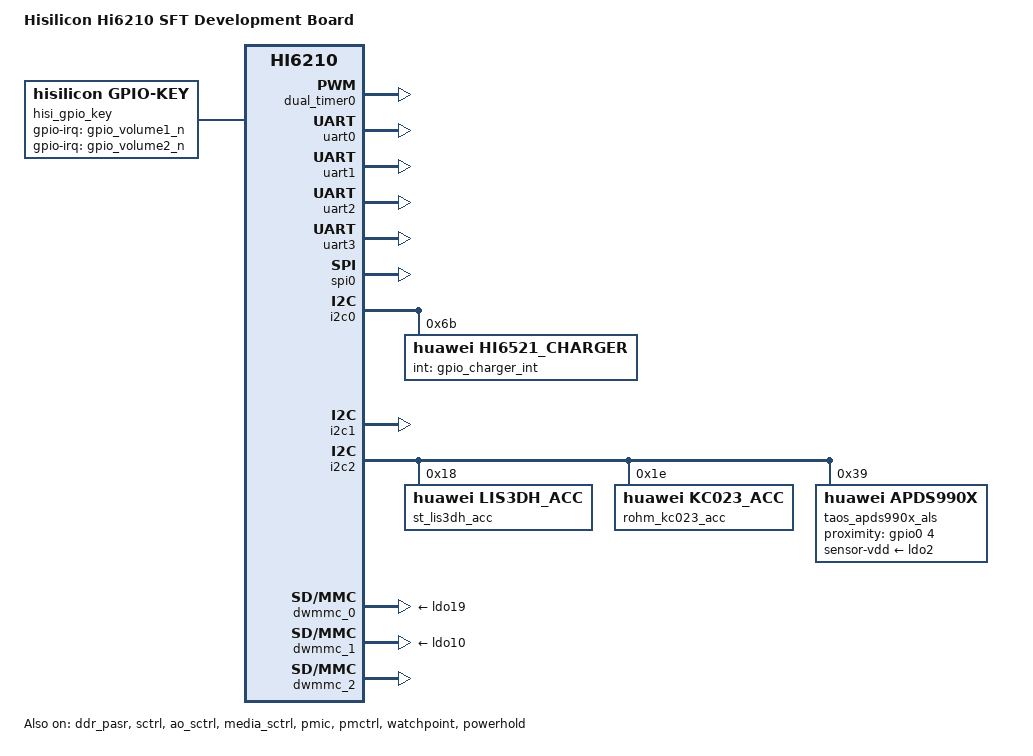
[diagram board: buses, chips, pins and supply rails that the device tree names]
/*
 *  Copyright (C) 2014 Hisilicon Ltd.
 *  Author: Bintian Wang <bintian.wang@huawei.com>
 *
 *  This program is free software; you can redistribute it and/or modify
 *  it under the terms of the GNU General Public License version 2 as
 *  publishhed by the Free Software Foundation.
 */

/dts-v1/;
/include/ "skeleton.dtsi"
/include/ "hi6210sft_udp_ddr2_pin.dtsi"
/include/ "hi6210sft_udp_ddr2_charger.dtsi"
/include/ "hi6210sft_udp_ddr2_pmic.dtsi"
/include/ "hi6210sft_udp_ddr2_gpio_logic.dtsi"
/include/ "./udp_ddr2/hi6210_gpio.dtsi"
/include/ "./udp_ddr2/hi6210_pinctrl.dtsi"
/include/ "./udp_ddr2/hi6210.dtsi"
/include/ "./udp_ddr2/hi6210_clk.dtsi"
/include/ "./udp_ddr2/hi6552_pmuclk.dtsi"
/include/ "./udp_ddr2/hi6552_pmic_mntn.dtsi"
/include/ "./udp_ddr2/hi6xxx_mtcmos.dtsi"
/include/ "./udp_ddr2/hi6210_memory.dtsi"
/include/ "./udp_ddr2/bq_bci_battery.dtsi"
/include/ "./udp_ddr2/hi6210_touchscreen.dtsi"
/include/ "./udp_ddr2/hi6210_vcodec.dtsi"
/include/ "./udp_ddr2/hi6210_camera.dtsi"
/include/ "./udp_ddr2/hi6210_videoconfig.dtsi"
/include/ "./udp_ddr2/hi6210_mali450.dtsi"
/include/ "./udp_ddr2/hi6210_fb.dtsi"
/include/ "./udp_ddr2/hi6210_mipi_tm_nt35521.dtsi"
/include/ "./udp_ddr2/hi6210_mipi_boe_nt35521.dtsi" 
/include/ "./udp_ddr2/hi6210_mipi_cmi_nt35521.dtsi" 
/include/ "./udp_ddr2/hi6210_mipi_yassy_hx8394.dtsi"
/*/include/ "./udp_ddr2/hi6210_mipi_jdi_otm1902b.dtsi"*/

/* /include/ "./udp_ddr2/hi6210_otm1282b.dtsi" */
/include/ "./udp_ddr2/test_hi6xxx_regulator.dtsi"
/include/ "./udp_ddr2/hi6210_tsensor.dtsi"
/include/ "./udp_ddr2/hi6xxx_hkadc.dtsi"
/include/ "./udp_ddr2/hi6210_audio.dtsi"
/include/ "./udp_ddr2/hi6210_clk_stub.dtsi"
/include/ "./udp_ddr2/hi6xxx_ddr2.dtsi"
/include/ "./udp_ddr2/hisi_hi1101.dtsi"
/include/ "./udp_ddr2/hi6210_hall.dtsi"

/include/ "./udp_ddr2/hisi_vibrator.dtsi"
/include/ "./udp_ddr2/huawei_bluetooth.dtsi"
/include/ "./udp_ddr2/huawei_gps.dtsi"
/include/ "./udp_ddr2/huawei_wifi.dtsi"
/include/ "./udp_ddr2/hisi_hi6xxx_noc.dtsi"
/ {
	model = "Hisilicon Hi6210 SFT Development Board";
	compatible = "hisilicon,hi6210";
	hisi,boardid = <0 0 1 3>;
	hisi,boardname = "hi6210sft_udp_ddr2";
	mntn,acpu-scaddr = <0xf65a0000 0x800>;
	power,busdfs = <0x1>;
	power,localtimer = <0x1>;
	clk,support_odd_div = <0>;
	#address-cells = <1>;
	#size-cells = <1>;
	interrupt-parent = <&gic>;
	
	aliases{
	    mshc0 = &dwmmc_0;
	    mshc1 = &dwmmc_1;
	    mshc2 = &dwmmc_2;
	};

	chosen {};

	clusters {
		#address-cells = <1>;
		#size-cells = <0>;

		cluster0: cluster@0 { /*A7 cluster*/
			reg = <0>;
			cores {
				#address-cells = <1>;
				#size-cells = <0>;

				core0: core@0 {
					reg = <0>;
				};

				core1: core@1 {
					reg = <1>;
				};

				core2: core@2 {
					reg = <2>;
				};

				core3: core@3 {
					reg = <3>;
				};

			};
		};

	};

	cpus {
		#address-cells = <1>;
		#size-cells = <0>;

		cpu@0 {
			compatible = "arm,cortex-a7";
			device_type = "cpu";
			reg = <0>;
			next-level-cache = <&l2>;			
			cluster = <&cluster0>;
			clock-frequency = <0>;
			clock-latency = <0>;
			operating-points = <
				/* kHz */
				208000  0
				441000  0
				690000  0
				900000  0
			>;
			
		};

		cpu@1 {
			compatible = "arm,cortex-a7";
			device_type = "cpu";
			reg = <1>;
			next-level-cache = <&l2>;
			cluster = <&cluster0>;
			clock-frequency = <0>;
			clock-latency = <0>;
		};

		cpu@2 {
			compatible = "arm,cortex-a7";
			device_type = "cpu";
			reg = <2>;
			next-level-cache = <&l2>;
			cluster = <&cluster0>;
			clock-frequency = <0>;
			clock-latency = <0>;
		};

		cpu@3 {
			compatible = "arm,cortex-a7";
			device_type = "cpu";
			reg = <3>;
			next-level-cache = <&l2>;
			cluster = <&cluster0>;
			clock-frequency = <0>;
			clock-latency = <0>;
		};
	};

	cpuidle {
	        compatible = "arm,generic";
	        status = "ok";
        };
	
	/* cpufreq  device */
	cpufreq: cpufreq-bL {
		compatible = "hi6xxx,generic-smp-cpufreq";
	};
		
    /* ddr pasr */
    ddr_pasr: ddr_pasr@f7128000 {
        compatible = "hisilicon,ddr_pasr";
        reg = <0xf7128000 0x1000>;
        status = "ok";
    };  

	sctrl: sctrl {
		compatible = "hisilicon,sctrl";
		reg = <0xf7030000 0x2000>;
		status = "ok";
	};

	ao_sctrl: ao_sctrl {
		compatible = "hisilicon,aosctrl";
		reg = <0xf7800000 0x2000>;
		status = "ok";
	};
	
	media_sctrl: media_sctrl {
		compatible = "hisilicon,media_sctrl";
		reg = <0xf4410000 0x1000>;
		status = "ok";
	};
	pmic: pmic@F8000000 {
                compatible = "hisilicon,hi6552-pmic-driver";
                status = "ok";
                ponkey:ponkey@b1{
                        compatible = "hisilicon,hisi-powerkey";
                        interrupt-parent = <&pmic>;
                        interrupts = <6 0>, <5 0>, <4 0>;
                        interrupt-names = "down", "up", "hold 1s";
                };
                coul: coul@1 {
                        compatible = "hisilicon,hi6xxx-coul";
                        interrupt-parent = <&pmic>;
                        interrupts = <24 0>, <25 0>, <26 0>, <27 0>;
                        interrupt-names = "cl_int_i", "cl_out_i", "cl_in_i", "vbat_int_i";
						battery_product_index = <0>;			
						status = "ok";
                };
                rtc: rtc@1 {
                        compatible = "hisilicon,hi6552-pmu-rtc";
                        interrupt-parent = <&pmic>;
                        interrupts = <20 0>;
                        interrupt-names = "hi6552_pmu_rtc";
						board_id = <1>;
                };
                usbvbus:usbvbus@b2{
			compatible = "hisilicon,hi6xxx-usbvbus";
			interrupt-parent = <&pmic>;
			interrupts = <9 0>, <8 0>;
			interrupt-names = "connect", "disconnect";
		};
	};

	pmctrl: pmctrl {
		compatible = "hisilicon,pmctrl";
		reg = <0xF7032000 0x1000>;
		status = "ok";
	};
	amba {
		dual_timer0: timer@f8008000 {
			status = "ok";
		};

		dma0: dma@F7370000 {
			status = "ok";
		};

		uart0: uart@f8015000 {	/* console */
			pinctrl-names = "default", "idle";
			pinctrl-0 = <&UART0_RXD_pmx_func
			             &UART0_RXD_cfg_func
				     &UART0_TXD_pmx_func
				     &UART0_TXD_cfg_func>;
			pinctrl-1 = <&UART0_RXD_pmx_idle
			             &UART0_RXD_cfg_idle
				     &UART0_TXD_pmx_idle
			             &UART0_TXD_cfg_idle>;
			status = "ok";
		};
		uart1: uart@f7111000 {
			pinctrl-names = "default", "idle";
			pinctrl-0 = <&UART1_CTS_N_pmx_func
			             &UART1_CTS_N_cfg_func
			             &UART1_RTS_N_pmx_func
				     &UART1_RTS_N_cfg_func
				     &UART1_RXD_pmx_func
				     &UART1_RXD_cfg_func
				     &UART1_TXD_pmx_func
				     &UART1_TXD_cfg_func>;
			pinctrl-1 = <&UART1_CTS_N_pmx_idle
			             &UART1_CTS_N_cfg_idle
			             &UART1_RTS_N_pmx_idle
				     &UART1_RTS_N_cfg_idle
				     &UART1_RXD_pmx_idle
				     &UART1_RXD_cfg_idle
				     &UART1_TXD_pmx_idle
				     &UART1_TXD_cfg_idle>;
			status = "ok";
		};
		uart2: uart@f7112000 {
			pinctrl-names = "default", "idle";
			pinctrl-0 = <&UART2_CTS_N_pmx_func
			             &UART2_CTS_N_cfg_func
			             &UART2_RTS_N_pmx_func
				     &UART2_RTS_N_cfg_func
				     &UART2_RXD_pmx_func
				     &UART2_RXD_cfg_func
				     &UART2_TXD_pmx_func
				     &UART2_TXD_cfg_func>;
			pinctrl-1 = <&UART2_CTS_N_pmx_idle
			             &UART2_CTS_N_cfg_idle
			             &UART2_RTS_N_pmx_idle
				     &UART2_RTS_N_cfg_idle
				     &UART2_RXD_pmx_idle
				     &UART2_RXD_cfg_idle
				     &UART2_TXD_pmx_idle
				     &UART2_TXD_cfg_idle>;
			status = "ok";
		};
		uart3: uart@f7113000 {
			status = "ok";
		};
		uart4: uart@f7114000 {
			status = "disabled";
		};

		spi0: spi@f7106000 {	
			status = "ok";
		};

		/*i2c bus node*/
		i2c0: i2c@f7100000 {
			status = "ok";
			hi6521_charger:charger@6B {
				compatible = "huawei,hi6521_charger";
				reg = <0x6B>;				
				gpio_int = <&gpio_charger_int>;
				max_charger_voltagemV = <4350>;
				max_charger_currentmA = <2000>;
				max_cin_limit_currentmA = <2500>;
				status = "ok";
			};

		};
		i2c1: i2c@f7101000 {
			status = "ok";			
		};
		i2c2: i2c@f7102000 {
			status = "ok";
			st_lis3dh_acc:acc@18{
				compatible="huawei,lis3dh_acc";
				reg = <0x18>;
				sensor_type="acc";
				poll_interval=<10>;
				min_interval=<10>;
				g_range=<0>;
				axis_map_x=<1>;
				axis_map_y=<0>;
				axis_map_z=<2>;
				negate_x=<0>;
				negate_y=<1>;
				negate_z=<0>;
				gpio_int1=<0>;
				gpio_int2=<0>;
				status = "ok";
			};
			rohm_kc023_acc:acc@1E{
				compatible="huawei,kc023_acc";
				reg = <0x1E>;
				sensor_type="acc";
				poll_interval=<10>;
				min_interval=<10>;
				g_range=<0>;
				accel_res=<3>;
				axis_map_x=<1>;
				axis_map_y=<0>;
				axis_map_z=<2>;
				negate_x=<0>;
				negate_y=<1>;
				negate_z=<0>;
				gpio_int1=<0>;
				gpio_int2=<0>;
				status = "ok";
			};
			taos_apds990x_als:light@39{
				compatible="huawei,apds990x";
				reg = <0x39>;
				sensor-vdd-supply = <&ldo2>;
				apds_type=<0>;
				sensor_rgb_type=<0>;
				proximity_gpio=<&gpio0 4 0>;
				status = "ok";
			};
		};
		i2c3: i2c@f7103000 {
			status = "disabled";
		};
		i2c4: i2c@f7104000 {
			status = "disabled";
		};
		i2c5: i2c@f7105000 {
			status = "disabled";
		};

	};
	
	watchpoint: watchpoint@F6580000 {
		compatible = "hisilicon,watchpoint";
		status = "ok";
	};
	/* emmc */
	dwmmc_0: dwmmc0@F723D000 {
 		compatible = "hisilicon,hi3630-dw-mshc";
		num-slots = <1>;
		board-mmc-bus-clk = <0>;
		broken-cd;
		caps2-mmc-hs200-1_8v;
 	    reg = <0xF723D000 0x1000>;
 		interrupts = <0 72 4>;
 		#address-cells = <1>;
 		#size-cells = <0>;
 		clocks = <&clk_mmc0_sample>, <&clk_mmc0>;
 		clock-names = "ciu", "biu";
		vmmc-supply = <&ldo19>;
		pinctrl-names = "default","idle";
		pinctrl-0 = <&EMMC_CLK_pmx_func
			         &EMMC_CLK_cfg_func
					 &EMMC_CMD_pmx_func
			         &EMMC_CMD_cfg_func
					 &EMMC_DATA0_pmx_func
					 &EMMC_DATA0_cfg_func
					 &EMMC_DATA1_pmx_func
					 &EMMC_DATA1_cfg_func
					 &EMMC_DATA2_pmx_func
					 &EMMC_DATA2_cfg_func
					 &EMMC_DATA3_pmx_func
					 &EMMC_DATA3_cfg_func
					 &EMMC_DATA4_pmx_func
					 &EMMC_DATA4_cfg_func
					 &EMMC_DATA5_pmx_func
					 &EMMC_DATA5_cfg_func
					 &EMMC_DATA6_pmx_func
					 &EMMC_DATA6_cfg_func
					 &EMMC_DATA7_pmx_func
					 &EMMC_DATA7_cfg_func>;
		pinctrl-1 = <&EMMC_CLK_pmx_idle
			         &EMMC_CLK_cfg_idle
					 &EMMC_CMD_pmx_idle
					 &EMMC_CMD_cfg_idle
					 &EMMC_DATA0_pmx_idle
					 &EMMC_DATA0_cfg_idle
					 &EMMC_DATA1_pmx_idle
					 &EMMC_DATA1_cfg_idle
					 &EMMC_DATA2_pmx_idle
					 &EMMC_DATA2_cfg_idle
					 &EMMC_DATA3_pmx_idle
					 &EMMC_DATA3_cfg_idle
					 &EMMC_DATA4_pmx_idle
					 &EMMC_DATA4_cfg_idle
					 &EMMC_DATA5_pmx_idle
					 &EMMC_DATA5_cfg_idle
					 &EMMC_DATA6_pmx_idle
					 &EMMC_DATA6_cfg_idle
					 &EMMC_DATA7_pmx_idle
					 &EMMC_DATA7_cfg_idle>;			 
     };
	 
	dwmmc_1: dwmmc1@F723E000 {
 		compatible = "hisilicon,hi3630-dw-mshc";
		num-slots = <1>;
		board-mmc-bus-clk = <0>;
		cd-vol = <1>;		
		card-detect-delay = <200>;
		cd-gpio = <&gpio_sd_det>;
 	    reg = <0xF723E000 0x1000>;
 		interrupts = <0 73 4>;
 		#address-cells = <1>;
 		#size-cells = <0>;
 		clocks = <&clk_mmc1_sample>, <&clk_mmc1>;
 		clock-names = "ciu", "biu";
		vqmmc-supply = <&ldo7>;
		vmmc-supply = <&ldo10>;
		pinctrl-names = "default","idle";
		pinctrl-0 = <&SD_CLK_pmx_func
		             &SD_CLK_cfg_func
					 &SD_CMD_pmx_func
					 &SD_CMD_cfg_func
					 &SD_DATA0_pmx_func
					 &SD_DATA0_cfg_func
					 &SD_DATA1_pmx_func
					 &SD_DATA1_cfg_func
					 &SD_DATA2_pmx_func
					 &SD_DATA2_cfg_func
					 &SD_DATA3_pmx_func
					 &SD_DATA3_cfg_func>;
		pinctrl-1 = <&SD_CLK_pmx_idle
		             &SD_CLK_cfg_idle
					 &SD_CMD_pmx_idle
					 &SD_CMD_cfg_idle
					 &SD_DATA0_pmx_idle
					 &SD_DATA0_cfg_idle
					 &SD_DATA1_pmx_idle
					 &SD_DATA1_cfg_idle
					 &SD_DATA2_pmx_idle
					 &SD_DATA2_cfg_idle
					 &SD_DATA3_pmx_idle
					 &SD_DATA3_cfg_idle>;			 
     };

	/* sdio */
	dwmmc_2: dwmmc2@F723F000 {
 		compatible = "hisilicon,hi3630-dw-mshc";
		num-slots = <1>;
		board-mmc-bus-clk = <0>;
		reg = <0xF723F000 0x1000>;
 		interrupts = <0 74 4>;
 		#address-cells = <1>;
 		#size-cells = <0>;
 		clocks = <&clk_mmc2_sample>, <&clk_mmc2>;
 		clock-names = "ciu", "biu";
		keep-power-in-suspend;
		emmc-ldo-supply = <&ldo2>;
		/* emmc-lvs-supply = <&ldo1>; */
		pinctrl-names = "default","idle";
		pinctrl-0 = <>;
		pinctrl-1 = <>;			 
     };

	hisi_gpio_key {
	compatible = "hisilicon,gpio-key";
	pinctrl-names = "default", "idle";
	pinctrl-0 = <&GPIO_7_1_pmx_func
		     &GPIO_3_0_pmx_func
		     &GPIO_7_1_cfg_func
	             &GPIO_3_0_cfg_func>;
	pinctrl-1 = <&GPIO_7_1_pmx_idle
	             &GPIO_3_0_pmx_idle
	             &GPIO_7_1_cfg_idle
		     &GPIO_3_0_cfg_idle>;
	gpio-keyup,gpio-irq = <&gpio_volume1_n>;
	gpio-keydown,gpio-irq = <&gpio_volume2_n>;
	status = "ok";
	};

	hi6xxx_reset:hi6xxx_reset {
		compatible = "hisilicon,hi6xxx-reset";
		sctrl-value = <0x48698284>;
	};

	hi6xxx_soc_config:hi6xxx_soc_config {
		compatible = "hisilicon,hi6xxx-soc-config";
	};

	powerhold:powerhold {
		compatible = "hisi,powerhold";
		gpio_powerhold = <&gpio_pwr_hold>; /*gpio0_0*/
		reg = <0xF8011000 0x1000>;  /*gpio0 base address*/
		offset = <0x4>;             /*gpio0  offset address*/
		status = "ok";
	};
	devcheck {
		compatible = "huawei,device_check";
		touch_panel = <0x0>;
		compass = <0x0>;
		g_sensor = <0x0>;
		camera_main = <0x0>;
		camera_slave = <0x0>;
		keypad = <0x0>;
		aps = <0x0>;
		gyroscope = <0x0>;
		nfc = <0x0>;
		dc_dc = <0x0>;
		speaker = <0x0>;
		ofn = <0x0>;
		tps = <0x0>;
		l_sensor = <0x0>;
		charge = <0x0>;
		battery = <0x0>;
		nct = <0x0>;
		mhl = <0x0>;
		audience = <0x0>;
		irda = <0x0>;
		hand_sensor = <0x0>;
		usb_switch = <0x0>;
		pmu_dcdc = <0x0>;
		fm = <0x0>;
		wifi = <0x0>;
		bt = <0x0>;
		gps = <0x0>;
		status = "ok";
	};
};
